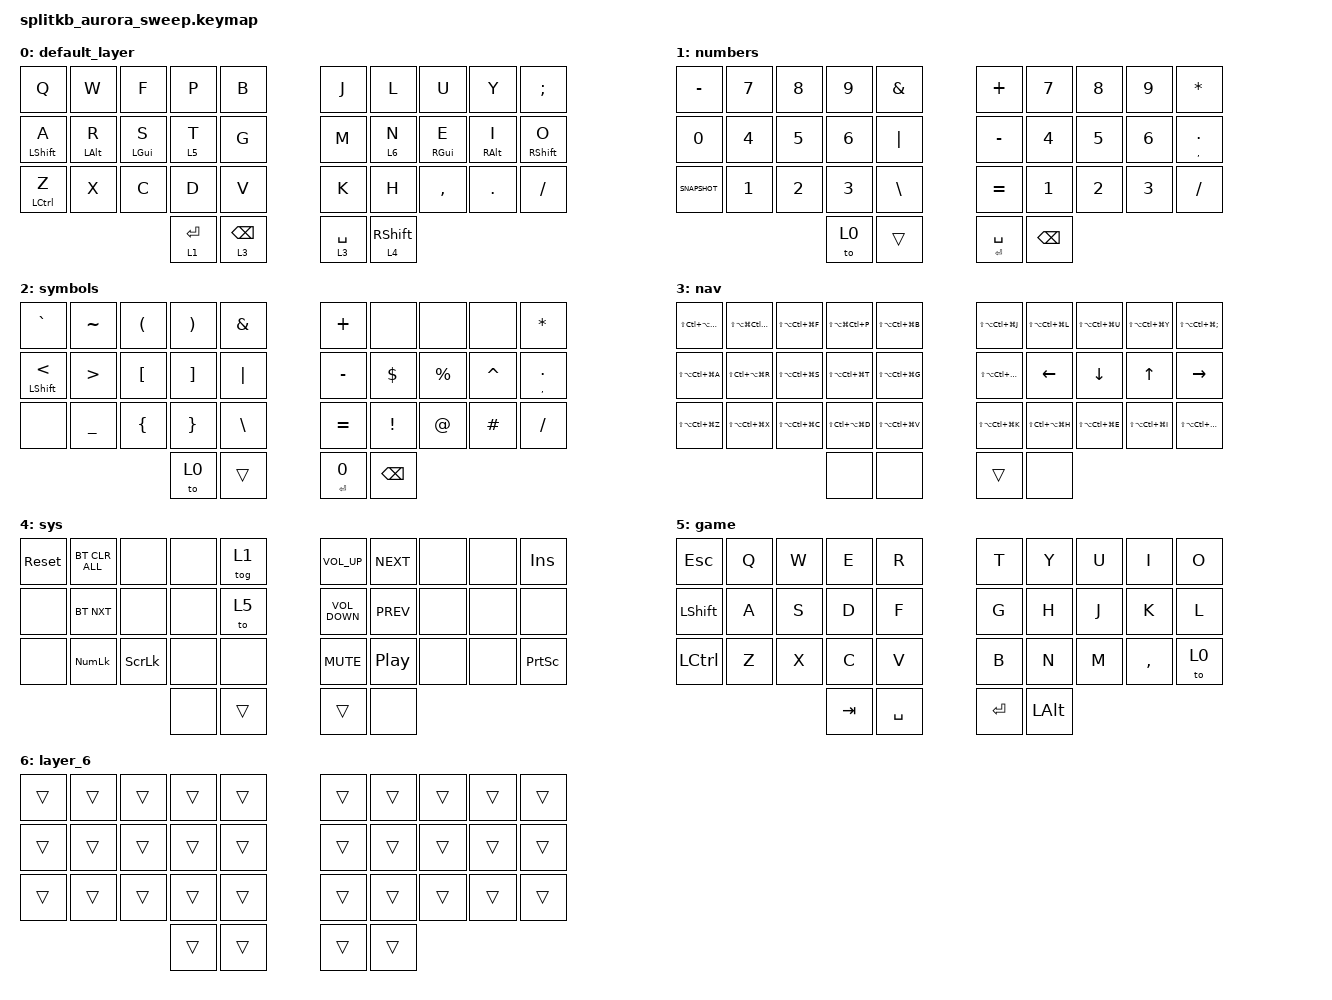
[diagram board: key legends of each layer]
#include <dt-bindings/zmk/mouse.h>
#include <behaviors.dtsi>
#include <dt-bindings/zmk/bt.h>
#include <dt-bindings/zmk/keys.h>

&mt {
    flavor = "balanced";
    quick-tap-ms = <190>;//for double tap backspace to repeat
    tapping-term-ms = <280>;
    require-prior-idle-ms = <120>;//higher value makes hold harder to trigger, cause it forces a tap instead if within this time. if correct with backspace, we may want a shift/mod so we set this to lowish
};

/ {
    combos {
        compatible = "zmk,combos";

        caps_word {
            bindings = <&caps_word>;
            key-positions = <6 7>;
            layers = <0>;
        };

        esc {
            bindings = <&kp ESCAPE>;
            key-positions = <16 17>;
            layers = <0>;
        };

        del {
            bindings = <&kp DEL>;
            key-positions = <26 27>;
            layers = <0>;
        };

        cmd_v {
            bindings = <&kp LG(V)>;
            key-positions = <13 23>;
            layers = <0>;
        };

        esc2 {
            bindings = <&kp ESC>;
            key-positions = <0 1>;
            layers = <0>;
        };
    };

    macros {
        dot_shift: dot_shift {
            compatible = "zmk,behavior-macro";
            #binding-cells = <0>;
            bindings = <&kp DOT &kp SPACE &sk LEFT_SHIFT>;
            label = "DOT_SHIFT";
        };
    };

    behaviors {
        no_idle: no_idle {
            compatible = "zmk,behavior-hold-tap";
            label = "NO_IDLE";
            bindings = <&kp>, <&kp>;

            #binding-cells = <2>;
            tapping-term-ms = <200>;
            quick-tap-ms = <150>;
            require-prior-idle-ms = <(-1)>;
            flavor = "balanced";
        };

        dotques: dotques {
            compatible = "zmk,behavior-mod-morph";
            label = "DOTQUES";
            bindings = <&kp PERIOD>, <&kp QUESTION>;

            #binding-cells = <0>;
            mods = <(MOD_LSFT)>;
        };
    };

    keymap {
        compatible = "zmk,keymap";

        default_layer {
            bindings = <
&kp Q                  &kp W            &kp F       &kp P    &kp B    &kp J  &kp L    &kp U       &kp Y        &kp SEMICOLON
&no_idle LEFT_SHIFT A  &mt LEFT_ALT R   &mt LGUI S  &lt 5 T  &kp G    &kp M  &lt 6 N  &mt RGUI E  &mt RALT I   &mt RIGHT_SHIFT O
&mt LCTRL Z            &kp X            &kp C       &kp D    &kp V    &kp K  &kp H    &kp COMMA   &kp PERIOD   &kp SLASH
&lt 1 ENTER            &lt 3 BACKSPACE                                                            &lt 3 SPACE  &lt 4 RSHIFT
            >;
        };

        numbers {
            bindings = <
&kp MINUS       &kp NUMBER_7  &kp NUMBER_8  &kp NUMBER_9  &kp AMPS         &kp PLUS   &kp N7  &kp N8  &kp N9           &kp ASTERISK
&kp NUMBER_0    &kp NUMBER_4  &kp NUMBER_5  &kp NUMBER_6  &kp PIPE         &kp MINUS  &kp N4  &kp N5  &kp N6           &mt COMMA PERIOD
&kp C_SNAPSHOT  &kp NUMBER_1  &kp NUMBER_2  &kp NUMBER_3  &kp BACKSLASH    &kp EQUAL  &kp N1  &kp N2  &kp N3           &kp SLASH
&to 0           &trans                                                                                &mt ENTER SPACE  &kp BACKSPACE
            >;
        };

        symbols {
            bindings = <
&kp GRAVE            &kp TILDE         &kp LEFT_PARENTHESIS  &kp RIGHT_PARENTHESIS  &kp AMPS         &kp PLUS   &none       &none        &none         &kp ASTERISK
&mt LSHFT LESS_THAN  &kp GREATER_THAN  &kp LEFT_BRACKET      &kp RIGHT_BRACKET      &kp PIPE         &kp MINUS  &kp DOLLAR  &kp PERCENT  &kp CARET     &mt COMMA PERIOD
&none                &kp UNDERSCORE    &kp LEFT_BRACE        &kp RIGHT_BRACE        &kp BACKSLASH    &kp EQUAL  &kp EXCL    &kp AT       &kp HASH      &kp SLASH
&to 0                &trans                                                                                                              &mt ENTER N0  &kp BACKSPACE
            >;
        };

        nav {
            bindings = <
&kp LS(LC(LA(LG(Q))))  &kp LS(LA(LG(LC(W))))  &kp LS(LA(LC(LG(F))))  &kp LS(LA(LG(LC(P))))  &kp LS(LA(LC(LG(B))))    &kp LS(LA(LC(LG(J))))  &kp LS(LA(LC(LG(L))))  &kp LS(LA(LC(LG(U))))  &kp LS(LA(LC(LG(Y))))  &kp LS(LA(LC(LG(SEMICOLON))))
&kp LS(LA(LC(LG(A))))  &kp LS(LC(LA(LG(R))))  &kp LS(LA(LC(LG(S))))  &kp LS(LA(LC(LG(T))))  &kp LS(LA(LC(LG(G))))    &kp LS(LA(LC(LG(M))))  &kp LEFT               &kp DOWN               &kp UP_ARROW           &kp RIGHT
&kp LS(LA(LC(LG(Z))))  &kp LS(LA(LC(LG(X))))  &kp LS(LA(LC(LG(C))))  &kp LS(LC(LA(LG(D))))  &kp LS(LA(LC(LG(V))))    &kp LS(LA(LC(LG(K))))  &kp LS(LC(LA(LG(H))))  &kp LS(LA(LC(LG(E))))  &kp LS(LA(LC(LG(I))))  &kp LS(LA(LC(LG(O))))
&none                  &none                                                                                                                                                              &trans                 &none
            >;
        };

        sys {
            bindings = <
&sys_reset  &bt BT_CLR_ALL  &none           &none  &tog 1    &kp C_VOLUME_UP    &kp C_NEXT        &none  &none   &kp INSERT
&none       &bt BT_NXT      &none           &none  &to 5     &kp C_VOLUME_DOWN  &kp C_PREV        &none  &none   &none
&none       &kp KP_NUMLOCK  &kp SCROLLLOCK  &none  &none     &kp C_MUTE         &kp C_PLAY_PAUSE  &none  &none   &kp PRINTSCREEN
&none       &trans                                                                                       &trans  &none
            >;
        };

        game {
            bindings = <
&kp ESC    &kp Q      &kp W  &kp E  &kp R    &kp T  &kp Y  &kp U  &kp I      &kp O
&kp LSHFT  &kp A      &kp S  &kp D  &kp F    &kp G  &kp H  &kp J  &kp K      &kp L
&kp LCTRL  &kp Z      &kp X  &kp C  &kp V    &kp B  &kp N  &kp M  &kp COMMA  &to 0
&kp TAB    &kp SPACE                                              &kp ENTER  &kp LALT
            >;
        };

        layer_6 {
            bindings = <
&trans  &trans  &trans  &trans  &trans    &trans  &trans  &trans  &trans  &trans
&trans  &trans  &trans  &trans  &trans    &trans  &trans  &trans  &trans  &trans
&trans  &trans  &trans  &trans  &trans    &trans  &trans  &trans  &trans  &trans
&trans  &trans                                                    &trans  &trans
            >;
        };
    };
};
